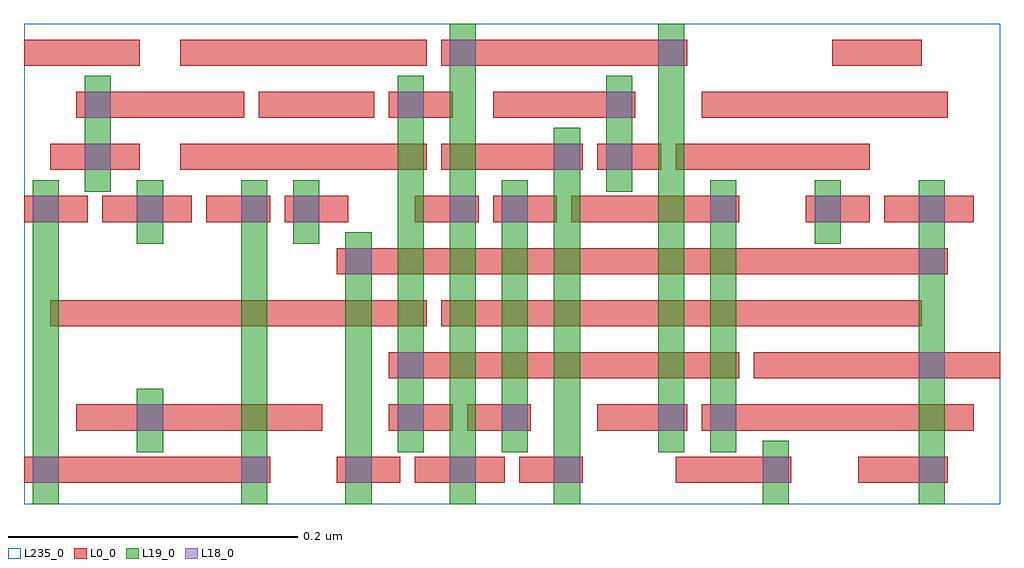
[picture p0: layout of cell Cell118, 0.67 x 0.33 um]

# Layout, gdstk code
import gdstk
lib = gdstk.Library(unit=1e-6, precision=2.5e-10)
def R(c, l, rs):  # rectangles x0, y0, x1, y1
    for r in rs: c.add(gdstk.rectangle(r[:2], r[2:], *l))
def A(c, l, x, y, w, h, nx, ny, dx, dy):  # array of equal rectangles
    R(c, l, [(x+i*dx, y+j*dy, x+i*dx+w, y+j*dy+h) for i in range(nx) for j in range(ny)])
L0_0 = (0, 0)
L18_0 = (18, 0)
L19_0 = (19, 0)
L235_0 = (235, 0)

cell118 = lib.new_cell('Cell118')
R(cell118, L0_0, [(0.004,-0.001,0.174,0.017), (0.22,-0.001,0.264,0.017), (0.274,-0.001,0.336,0.017), (0.346,-0.001,0.39,0.017), (0.454,-0.001,0.534,0.017), (0.58,-0.001,0.642,0.017), (0.04,0.035,0.21,0.053), (0.256,0.035,0.3,0.053), (0.31,0.035,0.354,0.053), (0.4,0.035,0.462,0.053), (0.472,0.035,0.66,0.053), (0.256,0.071,0.498,0.089), (0.508,0.071,0.678,0.089), (0.022,0.107,0.282,0.125), (0.292,0.107,0.624,0.125), (0.22,0.143,0.642,0.161), (0.004,0.179,0.048,0.197), (0.058,0.179,0.12,0.197), (0.13,0.179,0.174,0.197), (0.184,0.179,0.228,0.197), (0.274,0.179,0.318,0.197), (0.328,0.179,0.372,0.197), (0.382,0.179,0.498,0.197), (0.544,0.179,0.588,0.197), (0.598,0.179,0.66,0.197), (0.022,0.215,0.084,0.233), (0.112,0.215,0.282,0.233), (0.292,0.215,0.39,0.233), (0.4,0.215,0.444,0.233), (0.454,0.215,0.588,0.233), (0.04,0.251,0.156,0.269), (0.166,0.251,0.246,0.269), (0.256,0.251,0.3,0.269), (0.328,0.251,0.426,0.269), (0.472,0.251,0.642,0.269), (0.004,0.287,0.084,0.305), (0.112,0.287,0.282,0.305), (0.292,0.287,0.462,0.305), (0.562,0.287,0.624,0.305)])
A(cell118, L18_0, 0.154, -0.001, 0.018, 0.018, 4, 1, 0.072, 0)
A(cell118, L18_0, 0.622, -0.001, 0.018, 0.018, 1, 3, 0, 0.072)
A(cell118, L18_0, 0.01, 0.179, 0.018, 0.018, 3, 1, 0.072, 0)
A(cell118, L18_0, 0.478, 0.179, 0.018, 0.018, 3, 1, 0.072, 0)
R(cell118, L18_0, [(0.01,-0.001,0.028,0.017), (0.514,-0.001,0.532,0.017), (0.082,0.035,0.1,0.053), (0.262,0.035,0.28,0.053), (0.334,0.035,0.352,0.053), (0.442,0.035,0.46,0.053), (0.478,0.035,0.496,0.053), (0.262,0.071,0.28,0.089), (0.226,0.143,0.244,0.161), (0.19,0.179,0.208,0.197), (0.298,0.179,0.316,0.197), (0.334,0.179,0.352,0.197), (0.046,0.215,0.064,0.233), (0.37,0.215,0.388,0.233), (0.406,0.215,0.424,0.233), (0.046,0.251,0.064,0.269), (0.262,0.251,0.28,0.269), (0.406,0.251,0.424,0.269), (0.298,0.287,0.316,0.305), (0.442,0.287,0.46,0.305)])
R(cell118, L19_0, [(0.01,-0.016,0.028,0.208), (0.154,-0.016,0.172,0.208), (0.226,-0.016,0.244,0.172), (0.298,-0.016,0.316,0.316), (0.37,-0.016,0.388,0.244), (0.514,-0.016,0.532,0.028), (0.622,-0.016,0.64,0.208), (0.082,0.02,0.1,0.064), (0.262,0.02,0.28,0.28), (0.334,0.02,0.352,0.208), (0.442,0.02,0.46,0.316), (0.478,0.02,0.496,0.208), (0.082,0.164,0.1,0.208), (0.19,0.164,0.208,0.208), (0.55,0.164,0.568,0.208), (0.046,0.2,0.064,0.28), (0.406,0.2,0.424,0.28)])
R(cell118, L235_0, [(0.004,-0.016,0.678,0.316)])

lib.write_gds('Cell118.gds')
